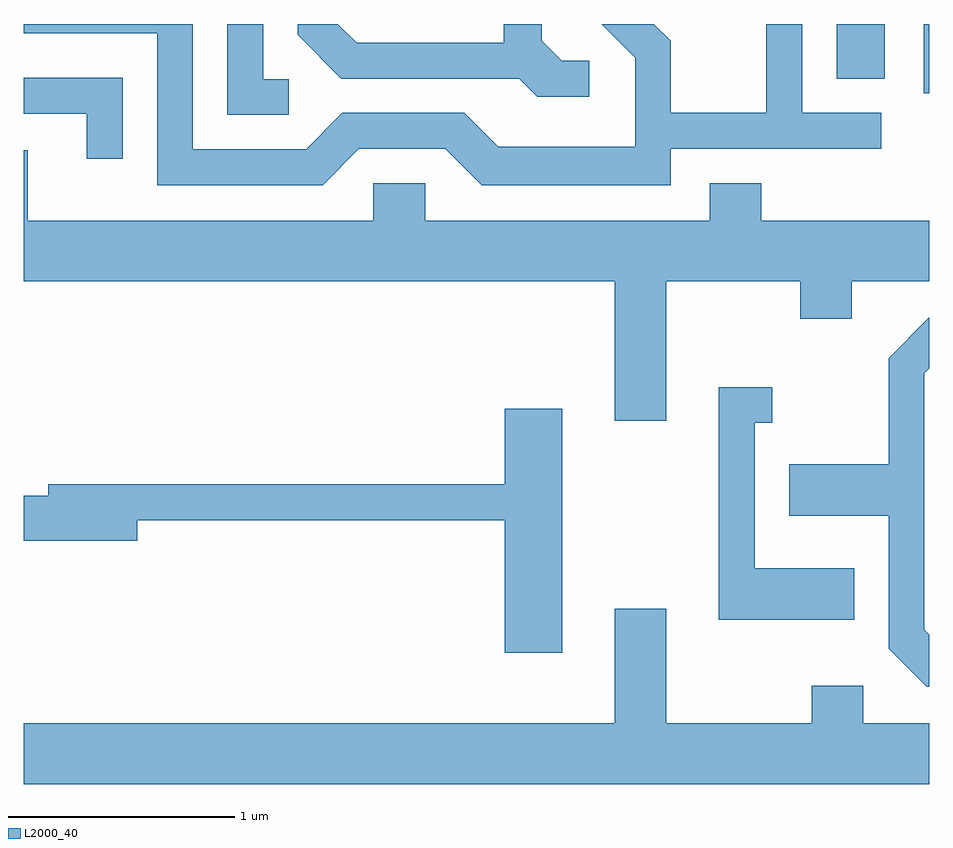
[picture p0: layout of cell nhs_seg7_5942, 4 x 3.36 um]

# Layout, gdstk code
import gdstk
lib = gdstk.Library(unit=1e-6, precision=1e-09)
def R(c, l, rs):  # rectangles x0, y0, x1, y1
    for r in rs: c.add(gdstk.rectangle(r[:2], r[2:], *l))
def P(c, l, *ps):  # polygons
    for p in ps: c.add(gdstk.Polygon(p, *l))
L2000_40 = (2000, 40)

nhs_seg7_5942 = lib.new_cell('nhs_seg7_5942')
R(nhs_seg7_5942, L2000_40, [(369.586,1803.946,369.611,1804.252), (369.201,1804.011,369.414,1804.252)])
P(nhs_seg7_5942, L2000_40, [(367.092,1803.701),(367.474,1803.701),(367.634,1803.541),(368.469,1803.541),(368.469,1803.701),(369.398,1803.701),(369.398,1803.859),(369.049,1803.859),(369.049,1804.252),(368.891,1804.252),(368.891,1803.859),(368.469,1803.859),(368.469,1804.177),(368.394,1804.252),(368.163,1804.252),(368.311,1804.104),(368.311,1803.709),(367.707,1803.709),(367.557,1803.859),(367.019,1803.859),(366.859,1803.699),(366.359,1803.699),(366.359,1804.252),(365.611,1804.252),(365.611,1804.211),(366.201,1804.211),(366.201,1803.541),(366.932,1803.541)],
  [(368.108,1804.089),(367.987,1804.089),(367.899,1804.177),(367.899,1804.252),(367.731,1804.252),(367.731,1804.169),(367.082,1804.169),(366.999,1804.252),(366.821,1804.252),(366.821,1804.204),(367.014,1804.011),(367.799,1804.011),(367.879,1803.931),(368.108,1803.931)],
  [(366.783,1804.009),(366.669,1804.009),(366.669,1804.252),(366.511,1804.252),(366.511,1803.851),(366.783,1803.851)],
  [(366.049,1804.014),(365.611,1804.014),(365.611,1803.856),(365.891,1803.856),(365.891,1803.658),(366.049,1803.658)],
  [(368.449,1803.116),(369.041,1803.116),(369.041,1802.951),(369.269,1802.951),(369.269,1803.116),(369.611,1803.116),(369.611,1803.384),(368.869,1803.384),(368.869,1803.549),(368.641,1803.549),(368.641,1803.384),(367.384,1803.384),(367.384,1803.549),(367.156,1803.549),(367.156,1803.384),(365.629,1803.384),(365.629,1803.694),(365.611,1803.694),(365.611,1803.116),(368.221,1803.116),(368.221,1802.501),(368.449,1802.501)],
  [(369.611,1801.555),(369.589,1801.577),(369.589,1802.709),(369.611,1802.731),(369.611,1802.954),(369.609,1802.954),(369.431,1802.777),(369.431,1802.309),(368.991,1802.309),(368.991,1802.081),(369.431,1802.081),(369.431,1801.494),(369.599,1801.326),(369.611,1801.326)],
  [(369.279,1801.849),(368.839,1801.849),(368.839,1802.491),(368.918,1802.491),(368.918,1802.649),(368.681,1802.649),(368.681,1801.621),(369.279,1801.621)],
  [(367.989,1802.554),(367.736,1802.554),(367.736,1802.219),(365.721,1802.219),(365.721,1802.169),(365.611,1802.169),(365.611,1801.971),(366.114,1801.971),(366.114,1802.061),(367.736,1802.061),(367.736,1801.476),(367.989,1801.476)],
  [(369.611,1801.164),(369.319,1801.164),(369.319,1801.329),(369.091,1801.329),(369.091,1801.164),(368.449,1801.164),(368.449,1801.669),(368.221,1801.669),(368.221,1801.164),(365.611,1801.164),(365.611,1800.896),(369.611,1800.896)])

lib.write_gds('nhs_seg7_5942.gds')
